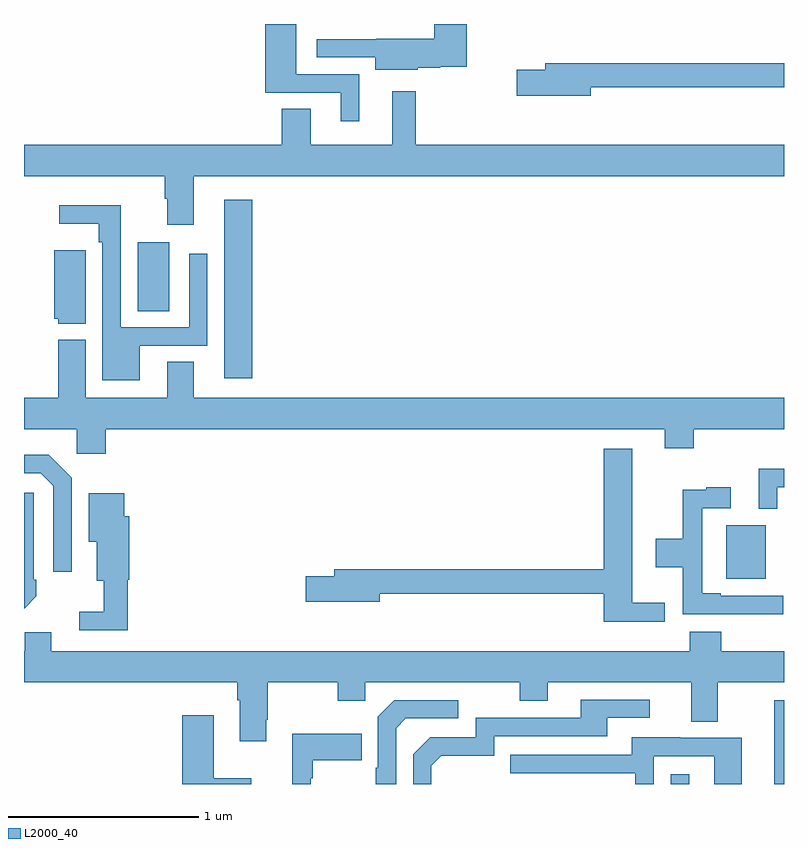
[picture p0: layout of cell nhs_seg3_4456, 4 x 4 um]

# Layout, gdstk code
import gdstk
lib = gdstk.Library(unit=1e-6, precision=1e-09)
def R(c, l, rs):  # rectangles x0, y0, x1, y1
    for r in rs: c.add(gdstk.rectangle(r[:2], r[2:], *l))
def P(c, l, *ps):  # polygons
    for p in ps: c.add(gdstk.Polygon(p, *l))
L2000_40 = (2000, 40)

nhs_seg3_4456 = lib.new_cell('nhs_seg3_4456')
R(nhs_seg3_4456, L2000_40, [(352.404,680.4,352.501,680.452), (352.949,680.4,353,680.841), (352.697,681.479,352.903,681.763), (350.054,682.536,350.201,683.476), (349.598,682.888,349.765,683.251)])
P(nhs_seg3_4456, L2000_40, [(351.072,684.169),(351.192,684.169),(351.192,684.176),(351.329,684.176),(351.329,684.4),(351.158,684.4),(351.158,684.322),(350.853,684.322),(350.853,684.321),(350.541,684.321),(350.541,684.225),(350.849,684.225),(350.849,684.158),(351.072,684.158)],
  [(350.764,684.135),(350.434,684.135),(350.434,684.4),(350.27,684.4),(350.27,684.039),(350.666,684.039),(350.666,683.889),(350.764,683.889)],
  [(351.982,684.066),(353,684.066),(353,684.194),(351.743,684.194),(351.743,684.158),(351.594,684.158),(351.594,684.023),(351.982,684.023)],
  [(349.894,683.6),(353,683.6),(353,683.764),(351.061,683.764),(351.061,684.046),(350.939,684.046),(350.939,683.764),(350.509,683.764),(350.509,683.954),(350.357,683.954),(350.357,683.764),(349,683.764),(349,683.6),(349.742,683.6),(349.742,683.48),(349.754,683.48),(349.754,683.343),(349.894,683.343)],
  [(349.609,682.707),(349.965,682.707),(349.965,683.191),(349.869,683.191),(349.869,682.803),(349.509,682.803),(349.509,683.446),(349.185,683.446),(349.185,683.348),(349.393,683.348),(349.393,683.252),(349.413,683.252),(349.413,682.526),(349.609,682.526)],
  [(349.324,683.209),(349.16,683.209),(349.16,682.848),(349.179,682.848),(349.179,682.823),(349.324,682.823)],
  [(349.43,682.268),(352.373,682.268),(352.373,682.166),(352.526,682.166),(352.526,682.268),(353,682.268),(353,682.432),(349.894,682.432),(349.894,682.622),(349.754,682.622),(349.754,682.432),(349.324,682.432),(349.324,682.738),(349.181,682.738),(349.181,682.432),(349,682.432),(349,682.268),(349.278,682.268),(349.278,682.137),(349.43,682.137)],
  [(352.372,681.353),(352.201,681.353),(352.201,682.165),(352.052,682.165),(352.052,681.53),(350.633,681.53),(350.633,681.494),(350.484,681.494),(350.484,681.359),(350.872,681.359),(350.872,681.402),(352.052,681.402),(352.052,681.254),(352.372,681.254)],
  [(349.251,682.011),(349.13,682.132),(349,682.132),(349,682.035),(349.089,682.035),(349.155,681.969),(349.155,681.516),(349.251,681.516)],
  [(352.965,681.963),(353,681.963),(353,682.059),(352.868,682.059),(352.868,681.848),(352.965,681.848)],
  [(352.996,681.39),(352.666,681.39),(352.666,681.403),(352.569,681.403),(352.569,681.852),(352.72,681.852),(352.72,681.961),(352.592,681.961),(352.592,681.95),(352.468,681.95),(352.468,681.69),(352.326,681.69),(352.326,681.542),(352.468,681.542),(352.468,681.294),(352.753,681.294),(352.753,681.293),(352.996,681.293)],
  [(349.065,681.387),(349.065,681.475),(349.05,681.475),(349.05,681.933),(349,681.933),(349,681.322)],
  [(349.547,681.474),(349.553,681.474),(349.553,681.81),(349.528,681.81),(349.528,681.931),(349.34,681.931),(349.34,681.674),(349.382,681.674),(349.382,681.47),(349.419,681.47),(349.419,681.307),(349.29,681.307),(349.29,681.21),(349.547,681.21)],
  [(350.275,680.737),(350.283,680.737),(350.283,680.936),(350.65,680.936),(350.65,680.837),(350.796,680.837),(350.796,680.936),(351.61,680.936),(351.61,680.837),(351.757,680.837),(351.757,680.936),(352.511,680.936),(352.511,680.728),(352.651,680.728),(352.651,680.936),(353,680.936),(353,681.1),(352.67,681.1),(352.67,681.202),(352.505,681.202),(352.505,681.1),(349.144,681.1),(349.144,681.198),(349.005,681.198),(349.005,681.1),(349,681.1),(349,680.936),(350.123,680.936),(350.123,680.84),(350.135,680.84),(350.135,680.625),(350.275,680.625)],
  [(351.144,680.496),(351.197,680.549),(351.474,680.549),(351.474,680.652),(352.069,680.652),(352.069,680.748),(352.294,680.748),(352.294,680.844),(351.929,680.844),(351.929,680.748),(351.378,680.748),(351.378,680.646),(351.138,680.646),(351.048,680.556),(351.048,680.4),(351.144,680.4)],
  [(350.958,680.694),(351.009,680.745),(351.286,680.745),(351.286,680.841),(350.949,680.841),(350.862,680.754),(350.862,680.485),(350.85,680.485),(350.85,680.4),(350.958,680.4)],
  [(350.197,680.431),(349.999,680.431),(349.999,680.761),(349.832,680.761),(349.832,680.4),(350.197,680.4)],
  [(350.508,680.429),(350.521,680.429),(350.521,680.525),(350.777,680.525),(350.777,680.665),(350.411,680.665),(350.411,680.4),(350.508,680.4)],
  [(352.314,680.547),(352.632,680.547),(352.632,680.4),(352.777,680.4),(352.777,680.643),(352.453,680.643),(352.453,680.647),(352.199,680.647),(352.199,680.553),(351.559,680.553),(351.559,680.457),(352.218,680.457),(352.218,680.4),(352.314,680.4)])

lib.write_gds('nhs_seg3_4456.gds')
